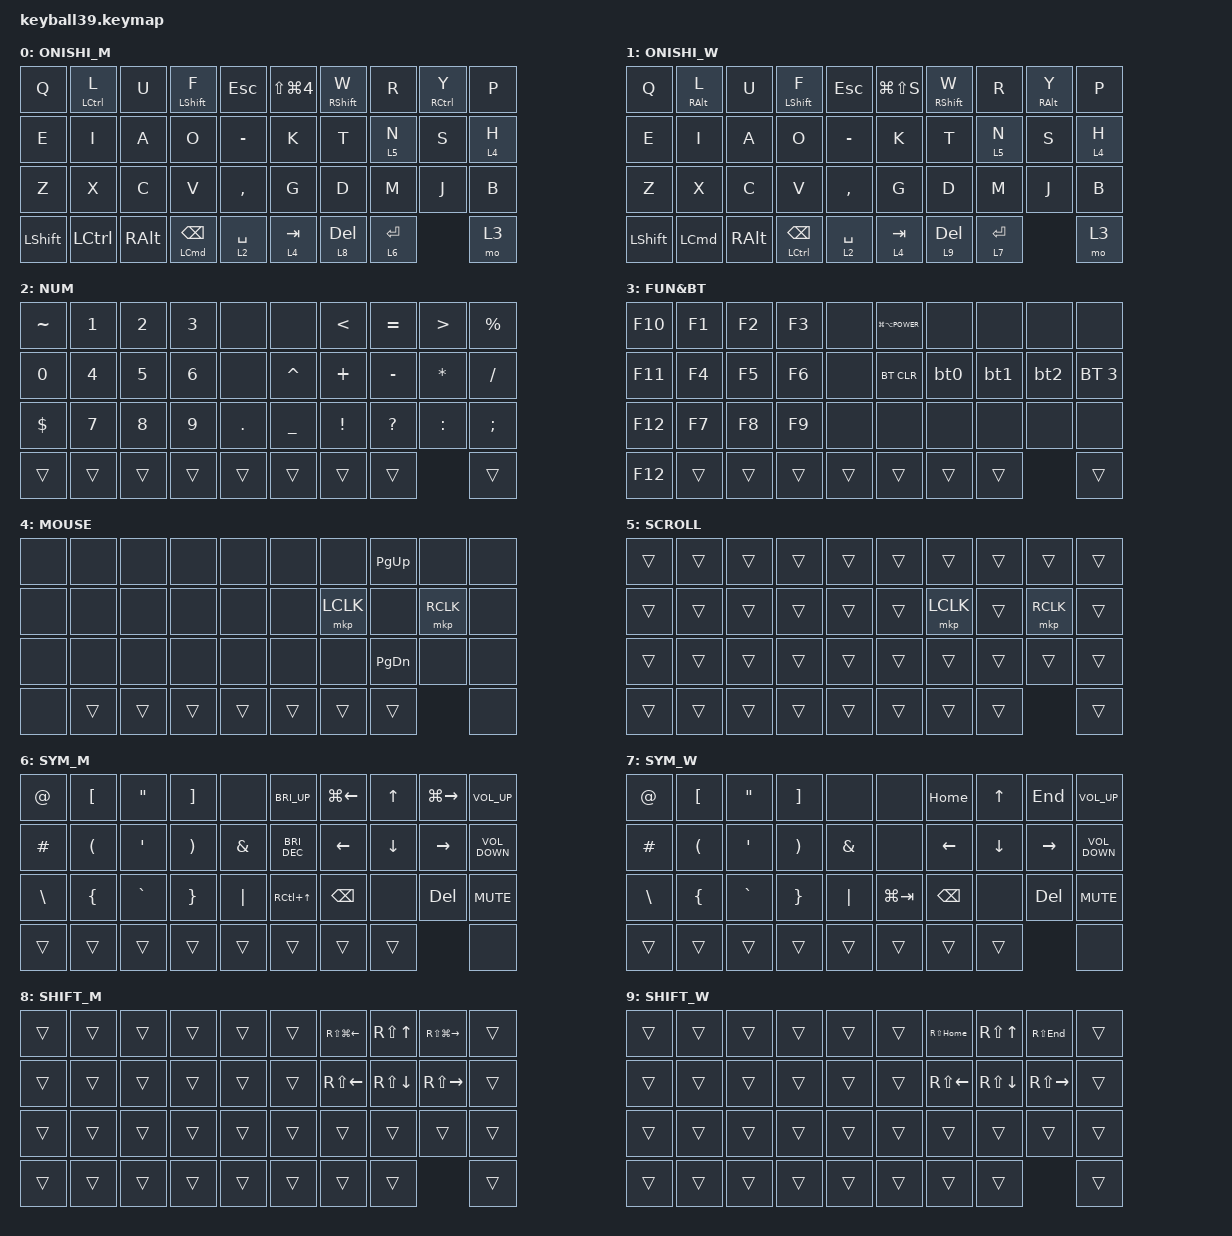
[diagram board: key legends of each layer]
#define ONISHI_M 0
#define ONISHI_W 1
#define NUM     2
#define FUN&BT   3
#define MOUSE  4
#define SCROLL   5
#define SYM_M     6
#define SYM_W     7
#define SHIFT_M     8
#define SHIFT_W     9

#include <behaviors/mouse_keys.dtsi>
#include <dt-bindings/zmk/mouse.h>
#include <behaviors.dtsi>
#include <dt-bindings/zmk/bt.h>
#include <dt-bindings/zmk/keys.h>

&lt {
    tapping-term-ms = <240>;
    flavor = "balanced";
    quick-tap-ms = <150>;
};

&mt {
    tapping-term-ms = <200>;
    flavor = "balanced";
    quick-tap-ms = <300>;
};

&caps_word { continue-list = <UNDERSCORE MINUS>; };

/ {
    behaviors {
        cmqus: comma_question {
            compatible = "zmk,behavior-mod-morph";
            label = "COMMA_QUESTION";
            #binding-cells = <0>;
            bindings = <&kp COMMA>, <&kp QUESTION>;

            mods = <(MOD_LSFT|MOD_RSFT)>;
        };

        dtsmi: dot_semi {
            compatible = "zmk,behavior-mod-morph";
            label = "DOT_SEMI";
            #binding-cells = <0>;
            bindings = <&kp DOT>, <&kp SEMI>;

            mods = <(MOD_LSFT|MOD_RSFT)>;
        };

        tog_on: toggle_layer {
            compatible = "zmk,behavior-toggle-layer";
            #binding-cells = <1>;
            display-name = "Toggle Layer";
        };
    };

    combos {
        compatible = "zmk,combos";

        eisu {
            bindings = <&kp LANG2>;
            key-positions = <21 22>;
        };

        kana {
            bindings = <&kp LANG1>;
            key-positions = <27 28>;
        };

        boot_reset {
            bindings = <&bootloader>;
            key-positions = <30 38 5>;
        };
    };

    macros {
        bt0: bt0 {
            compatible = "zmk,behavior-macro";
            #binding-cells = <0>;
            bindings =
                <&tog_on 0>,
                <&macro_wait_time 200>,
                <&bt BT_SEL 0>,
                <&macro_wait_time 500>,
                <&tog_on 0>;

            label = "BT0";
        };

        bt1: bt1 {
            compatible = "zmk,behavior-macro";
            #binding-cells = <0>;
            bindings =
                <&tog_on 0>,
                <&macro_wait_time 200>,
                <&bt BT_SEL 1>,
                <&macro_wait_time 500>,
                <&tog_on 1>;

            // Windows用レイヤーに移動

            label = "BT1";
        };

        bt2: bt3 {
            compatible = "zmk,behavior-macro";
            #binding-cells = <0>;
            bindings =
                <&tog_on 0>,
                <&macro_wait_time 200>,
                <&bt BT_SEL 2>,
                <&macro_wait_time 500>,
                <&tog_on 1>;

            label = "BT3";
        };
    };

    keymap {
        compatible = "zmk,keymap";

        default_mac {
            label = "ONISHI_M";
            bindings = <
&kp Q           &mt LEFT_CONTROL L  &kp U     &mt LEFT_SHIFT F            &kp ESCAPE                            &kp LS(LG(NUMBER_4))  &mt RIGHT_SHIFT W  &kp R    &mt RIGHT_CONTROL Y  &kp P
&kp E           &kp I               &kp A     &kp O                       &kp MINUS                             &kp K                 &kp T              &lt 5 N  &kp S                &lt 4 H
&kp Z           &kp X               &kp C     &kp V                       &kp COMMA                             &kp G                 &kp D              &kp M    &kp J                &kp B
&kp LEFT_SHIFT  &kp LEFT_CONTROL    &kp RALT  &mt LEFT_COMMAND BACKSPACE  &lt 2 SPACE  &lt 4 TAB  &lt 8 DELETE  &lt 6 ENTER                                                            &mo 3
            >;
        };

        default_win {
            label = "ONISHI_W";
            bindings = <
&kp Q           &mt RIGHT_ALT L   &kp U          &mt LEFT_SHIFT F            &kp ESCAPE                            &kp LG(LS(S))  &mt RIGHT_SHIFT W  &kp R    &mt RIGHT_ALT Y  &kp P
&kp E           &kp I             &kp A          &kp O                       &kp MINUS                             &kp K          &kp T              &lt 5 N  &kp S            &lt 4 H
&kp Z           &kp X             &kp C          &kp V                       &kp COMMA                             &kp G          &kp D              &kp M    &kp J            &kp B
&kp LEFT_SHIFT  &kp LEFT_COMMAND  &kp RIGHT_ALT  &mt LEFT_CONTROL BACKSPACE  &lt 2 SPACE  &lt 4 TAB  &lt 9 DELETE  &lt 7 ENTER                                                 &mo 3
            >;
        };

        number_layer {
            label = "NUM";
            bindings = <
&kp TILDE     &kp NUMBER_1  &kp NUMBER_2  &kp NUMBER_3  &none                       &none      &kp LESS_THAN  &kp EQUAL     &kp GREATER_THAN  &kp PERCENT
&kp NUMBER_0  &kp NUMBER_4  &kp NUMBER_5  &kp NUMBER_6  &none                       &kp CARET  &kp PLUS       &kp MINUS     &kp ASTRK         &kp SLASH
&kp DOLLAR    &kp NUMBER_7  &kp NUMBER_8  &kp NUMBER_9  &kp PERIOD                  &kp UNDER  &kp EXCL       &kp QUESTION  &kp COLON         &kp SEMI
&trans        &trans        &trans        &trans        &trans      &trans  &trans  &trans                                                    &trans
            >;
        };

        function_layer {
            label = "FUN&BT";
            bindings = <
&kp F10  &kp F1  &kp F2  &kp F3  &none                   &kp LG(LA(C_POWER))  &none  &none  &none  &none
&kp F11  &kp F4  &kp F5  &kp F6  &none                   &bt BT_CLR           &bt0   &bt1   &bt2   &bt BT_SEL 3
&kp F12  &kp F7  &kp F8  &kp F9  &none                   &none                &none  &none  &none  &none
&kp F12  &trans  &trans  &trans  &trans  &trans  &trans  &trans                                    &trans
            >;
        };

        mouse_layer {
            label = "MOUSE";
            bindings = <
&none  &none   &none   &none   &none                   &none   &none      &kp PG_UP  &none      &none
&none  &none   &none   &none   &none                   &none   &mkp LCLK  &none      &mkp RCLK  &none
&none  &none   &none   &none   &none                   &none   &none      &kp PG_DN  &none      &none
&none  &trans  &trans  &trans  &trans  &trans  &trans  &trans                                   &none
            >;
        };

        scroll_layer {
            label = "SCROLL";
            bindings = <
&trans  &trans  &trans  &trans  &trans                  &trans  &trans     &trans  &trans     &trans
&trans  &trans  &trans  &trans  &trans                  &trans  &mkp LCLK  &trans  &mkp RCLK  &trans
&trans  &trans  &trans  &trans  &trans                  &trans  &trans     &trans  &trans     &trans
&trans  &trans  &trans  &trans  &trans  &trans  &trans  &trans                                &trans
            >;
        };

        symbol_layer_m {
            label = "SYM_M";
            bindings = <
&kp AT_SIGN    &kp LEFT_BRACKET      &kp DOUBLE_QUOTES  &kp RIGHT_BRACKET      &none                          &kp C_BRI_UP      &kp LG(LEFT_ARROW)  &kp UP_ARROW    &kp LG(RIGHT_ARROW)  &kp C_VOLUME_UP
&kp HASH       &kp LEFT_PARENTHESIS  &kp SQT            &kp RIGHT_PARENTHESIS  &kp AMPERSAND                  &kp C_BRI_DEC     &kp LEFT_ARROW      &kp DOWN_ARROW  &kp RIGHT_ARROW      &kp C_VOLUME_DOWN
&kp BACKSLASH  &kp LEFT_BRACE        &kp GRAVE          &kp RIGHT_BRACE        &kp PIPE                       &kp RC(UP_ARROW)  &kp BACKSPACE       &none           &kp DELETE           &kp C_MUTE
&trans         &trans                &trans             &trans                 &trans         &trans  &trans  &trans                                                                     &none
            >;
        };

        symbol_layer_w {
            label = "SYM_W";
            bindings = <
&kp AT_SIGN    &kp LEFT_BRACKET      &kp DOUBLE_QUOTES  &kp RIGHT_BRACKET      &none                          &none        &kp HOME        &kp UP_ARROW    &kp END          &kp C_VOLUME_UP
&kp HASH       &kp LEFT_PARENTHESIS  &kp SQT            &kp RIGHT_PARENTHESIS  &kp AMPERSAND                  &none        &kp LEFT_ARROW  &kp DOWN_ARROW  &kp RIGHT_ARROW  &kp C_VOLUME_DOWN
&kp BACKSLASH  &kp LEFT_BRACE        &kp GRAVE          &kp RIGHT_BRACE        &kp PIPE                       &kp LG(TAB)  &kp BACKSPACE   &none           &kp DELETE       &kp C_MUTE
&trans         &trans                &trans             &trans                 &trans         &trans  &trans  &trans                                                        &none
            >;
        };

        shift_move_mac {
            label = "SHIFT_M";
            bindings = <
&trans  &trans  &trans  &trans  &trans                  &trans  &kp RS(LG(LEFT_ARROW))  &kp RS(UP_ARROW)    &kp RS(LG(RIGHT_ARROW))  &trans
&trans  &trans  &trans  &trans  &trans                  &trans  &kp RS(LEFT_ARROW)      &kp RS(DOWN_ARROW)  &kp RS(RIGHT_ARROW)      &trans
&trans  &trans  &trans  &trans  &trans                  &trans  &trans                  &trans              &trans                   &trans
&trans  &trans  &trans  &trans  &trans  &trans  &trans  &trans                                                                       &trans
            >;
        };

        shift_move_win {
            label = "SHIFT_W";
            bindings = <
&trans  &trans  &trans  &trans  &trans                  &trans  &kp RS(HOME)        &kp RS(UP_ARROW)    &kp RS(END)          &trans
&trans  &trans  &trans  &trans  &trans                  &trans  &kp RS(LEFT_ARROW)  &kp RS(DOWN_ARROW)  &kp RS(RIGHT_ARROW)  &trans
&trans  &trans  &trans  &trans  &trans                  &trans  &trans              &trans              &trans               &trans
&trans  &trans  &trans  &trans  &trans  &trans  &trans  &trans                                                               &trans
            >;
        };
    };
};
